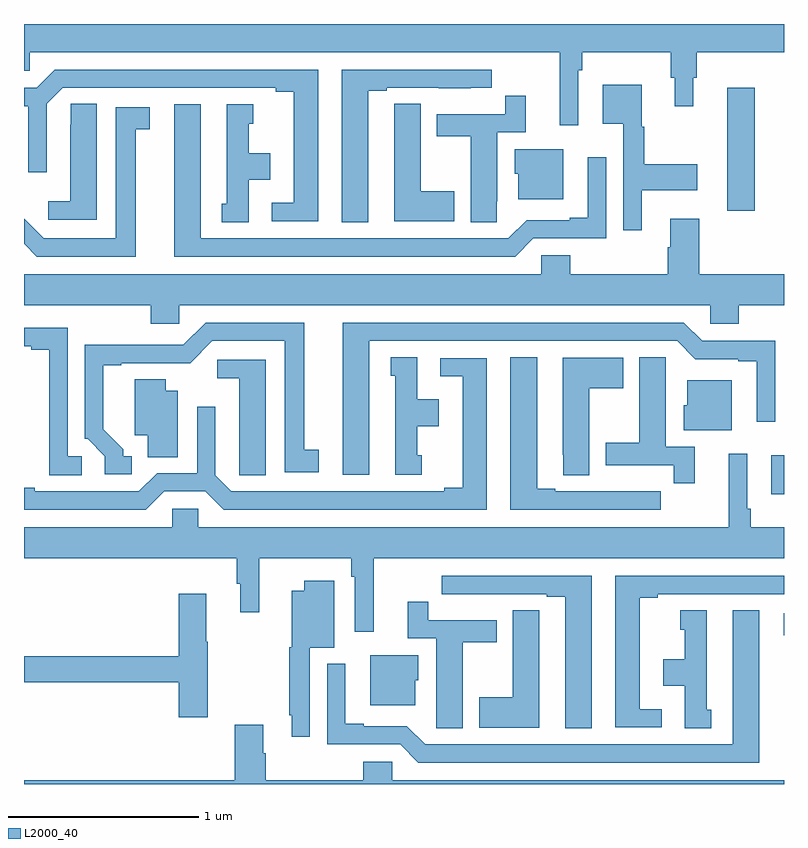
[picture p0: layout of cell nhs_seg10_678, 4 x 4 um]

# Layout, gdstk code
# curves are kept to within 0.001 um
import gdstk
lib = gdstk.Library(unit=1e-6, precision=1e-09)
def R(c, l, rs):  # rectangles x0, y0, x1, y1
    for r in rs: c.add(gdstk.rectangle(r[:2], r[2:], *l))
def P(c, l, *ps):  # polygons
    for p in ps: c.add(gdstk.Polygon(p, *l))
L2000_40 = (2000, 40)

nhs_seg10_678 = lib.new_cell('nhs_seg10_678')
R(nhs_seg10_678, L2000_40, [(148.998,1261.282,149,1261.398), (148.934,1262.024,149,1262.23), (148.7,1263.516,148.847,1264.165)])
P(nhs_seg10_678, L2000_40, [(148.405,1264.218),(148.424,1264.218),(148.424,1264.068),(148.522,1264.068),(148.522,1264.218),(148.541,1264.218),(148.541,1264.352),(149,1264.352),(149,1264.5),(145,1264.5),(145,1264.254),(145.029,1264.254),(145.029,1264.352),(147.821,1264.352),(147.821,1263.966),(147.918,1263.966),(147.918,1264.256),(147.938,1264.256),(147.938,1264.352),(148.405,1264.352)],
  [(146.812,1264.149),(146.908,1264.149),(146.908,1264.164),(147.184,1264.164),(147.184,1264.163),(147.35,1264.163),(147.35,1264.164),(147.463,1264.164),(147.463,1264.26),(146.672,1264.26),(146.672,1263.457),(146.812,1263.457)],
  [(146.548,1264.26),(145.163,1264.26),(145.067,1264.164),(145,1264.164),(145,1264.068),(145.023,1264.068),(145.023,1263.72),(145.119,1263.72),(145.119,1264.08),(145.203,1264.164),(146.324,1264.164),(146.324,1264.144),(146.42,1264.144),(146.42,1263.558),(146.304,1263.558),(146.304,1263.462),(146.548,1263.462)],
  [(148.252,1263.626),(148.543,1263.626),(148.543,1263.761),(148.264,1263.761),(148.264,1263.96),(148.252,1263.96),(148.252,1264.18),(148.046,1264.18),(148.046,1263.974),(148.155,1263.974),(148.155,1263.414),(148.252,1263.414)],
  [(147.489,1263.568),(147.49,1263.568),(147.49,1263.93),(147.641,1263.93),(147.641,1264.123),(147.532,1264.123),(147.532,1264.026),(147.173,1264.026),(147.173,1263.91),(147.35,1263.91),(147.35,1263.457),(147.489,1263.457)],
  [(145.384,1264.079),(145.245,1264.079),(145.245,1263.971),(145.244,1263.971),(145.244,1263.568),(145.128,1263.568),(145.128,1263.471),(145.384,1263.471)],
  [(147.265,1263.621),(147.088,1263.621),(147.088,1264.079),(146.949,1264.079),(146.949,1263.971),(146.948,1263.971),(146.948,1263.461),(147.265,1263.461)],
  [(146.182,1263.68),(146.296,1263.68),(146.296,1263.82),(146.182,1263.82),(146.182,1263.975),(146.206,1263.975),(146.206,1264.078),(146.066,1264.078),(146.066,1263.555),(146.042,1263.555),(146.042,1263.457),(146.182,1263.457)],
  [(147.681,1263.372),(148.065,1263.372),(148.065,1263.799),(147.968,1263.799),(147.968,1263.481),(147.872,1263.481),(147.872,1263.468),(147.645,1263.468),(147.549,1263.372),(145.93,1263.372),(145.93,1264.078),(145.79,1264.078),(145.79,1263.276),(147.585,1263.276)],
  [(145.588,1263.946),(145.663,1263.946),(145.663,1264.062),(145.484,1264.062),(145.484,1263.372),(145.104,1263.372),(145,1263.476),(145,1263.344),(145.068,1263.276),(145.588,1263.276)],
  [(147.838,1263.841),(147.584,1263.841),(147.584,1263.711),(147.602,1263.711),(147.602,1263.578),(147.838,1263.578)],
  [(145.818,1263.02),(148.611,1263.02),(148.611,1262.922),(148.763,1262.922),(148.763,1263.02),(149,1263.02),(149,1263.184),(148.553,1263.184),(148.553,1263.475),(148.4,1263.475),(148.4,1263.326),(148.388,1263.326),(148.388,1263.184),(147.875,1263.184),(147.875,1263.282),(147.723,1263.282),(147.723,1263.184),(145,1263.184),(145,1263.02),(145.667,1263.02),(145.667,1262.922),(145.818,1262.922)],
  [(146.818,1262.832),(148.437,1262.832),(148.533,1262.736),(148.76,1262.736),(148.76,1262.724),(148.856,1262.724),(148.856,1262.406),(148.953,1262.406),(148.953,1262.832),(148.569,1262.832),(148.473,1262.928),(146.678,1262.928),(146.678,1262.127),(146.818,1262.127)],
  [(145.567,1262.226),(145.522,1262.226),(145.522,1262.261),(145.417,1262.366),(145.417,1262.703),(145.513,1262.703),(145.513,1262.715),(145.874,1262.714),(145.992,1262.832),(146.372,1262.832),(146.372,1262.142),(146.551,1262.142),(146.551,1262.258),(146.476,1262.258),(146.476,1262.928),(145.956,1262.928),(145.839,1262.811),(145.583,1262.811),(145.583,1262.813),(145.32,1262.813),(145.32,1262.316),(145.335,1262.316),(145.425,1262.226),(145.425,1262.13),(145.567,1262.13)],
  [(145.303,1262.226),(145.23,1262.226),(145.23,1262.901),(145,1262.901),(145,1262.805),(145.037,1262.805),(145.037,1262.785),(145.133,1262.785),(145.133,1262.125),(145.303,1262.125)],
  [(147.094,1262.229),(147.07,1262.229),(147.07,1262.384),(147.184,1262.384),(147.184,1262.524),(147.07,1262.524),(147.07,1262.747),(146.93,1262.747),(146.93,1262.649),(146.954,1262.649),(146.954,1262.127),(147.094,1262.127)],
  [(148.351,1262.04),(148.238,1262.04),(148.238,1262.041),(148.072,1262.041),(148.072,1262.04),(147.796,1262.04),(147.796,1262.055),(147.7,1262.055),(147.7,1262.747),(147.56,1262.747),(147.56,1261.944),(148.351,1261.944)],
  [(148.529,1262.274),(148.378,1262.274),(148.378,1262.636),(148.377,1262.636),(148.377,1262.747),(148.238,1262.747),(148.238,1262.295),(148.061,1262.295),(148.061,1262.178),(148.42,1262.178),(148.42,1262.082),(148.529,1262.082)],
  [(147.976,1262.584),(148.153,1262.584),(148.153,1262.743),(147.836,1262.743),(147.836,1262.233),(147.837,1262.233),(147.837,1262.125),(147.976,1262.125)],
  [(145.737,1262.04),(145.955,1262.04),(146.051,1261.944),(147.436,1261.944),(147.436,1262.742),(147.192,1262.742),(147.192,1262.646),(147.308,1262.646),(147.308,1262.06),(147.212,1262.06),(147.212,1262.04),(146.091,1262.04),(146.007,1262.124),(146.007,1262.485),(145.911,1262.485),(145.911,1262.136),(145.701,1262.136),(145.605,1262.04),(145.057,1262.04),(145.057,1262.06),(145,1262.06),(145,1261.944),(145.641,1261.944)],
  [(146.272,1262.733),(146.016,1262.733),(146.016,1262.636),(146.132,1262.636),(146.132,1262.233),(146.133,1262.233),(146.133,1262.125),(146.272,1262.125)],
  [(145.81,1262.569),(145.747,1262.569),(145.747,1262.63),(145.583,1262.63),(145.583,1262.336),(145.652,1262.336),(145.652,1262.221),(145.81,1262.221)],
  [(148.726,1262.626),(148.49,1262.626),(148.49,1262.493),(148.472,1262.493),(148.472,1262.363),(148.726,1262.363)],
  [(146.84,1261.688),(149,1261.688),(149,1261.852),(148.826,1261.852),(148.826,1261.948),(148.806,1261.948),(148.806,1262.239),(148.709,1262.239),(148.709,1261.852),(145.917,1261.852),(145.917,1261.95),(145.779,1261.95),(145.779,1261.852),(145,1261.852),(145,1261.688),(146.119,1261.688),(146.119,1261.554),(146.138,1261.554),(146.138,1261.404),(146.238,1261.404),(146.238,1261.688),(146.722,1261.688),(146.722,1261.592),(146.742,1261.592),(146.742,1261.302),(146.84,1261.302)],
  [(148.357,1260.894),(148.24,1260.894),(148.24,1261.48),(148.336,1261.48),(148.336,1261.5),(149,1261.5),(149,1261.596),(148.112,1261.596),(148.112,1260.798),(148.357,1260.798)],
  [(147.988,1261.596),(147.198,1261.596),(147.198,1261.5),(147.31,1261.5),(147.31,1261.499),(147.476,1261.499),(147.476,1261.5),(147.752,1261.5),(147.752,1261.485),(147.848,1261.485),(147.848,1260.793),(147.988,1260.793)],
  [(146.505,1261.217),(146.632,1261.217),(146.632,1261.57),(146.474,1261.57),(146.474,1261.516),(146.408,1261.516),(146.408,1261.221),(146.397,1261.221),(146.397,1260.862),(146.408,1260.862),(146.408,1260.75),(146.505,1260.75)],
  [(145.968,1261.249),(145.96,1261.249),(145.96,1261.501),(145.814,1261.501),(145.814,1261.172),(145,1261.172),(145,1261.036),(145.814,1261.036),(145.814,1260.852),(145.968,1260.852)],
  [(147.31,1261.246),(147.487,1261.246),(147.487,1261.362),(147.128,1261.362),(147.128,1261.459),(147.02,1261.459),(147.02,1261.266),(147.17,1261.266),(147.17,1260.904),(147.171,1260.904),(147.171,1260.793),(147.31,1260.793)],
  [(147.712,1261.307),(147.711,1261.307),(147.711,1261.415),(147.572,1261.415),(147.572,1260.957),(147.395,1260.957),(147.395,1260.797),(147.712,1260.797)],
  [(148.87,1261.414),(148.73,1261.414),(148.73,1260.708),(147.111,1260.708),(147.015,1260.804),(146.788,1260.804),(146.788,1260.817),(146.692,1260.817),(146.692,1261.132),(146.595,1261.132),(146.595,1260.708),(146.979,1260.708),(147.075,1260.612),(148.87,1260.612)],
  [(148.618,1260.891),(148.594,1260.891),(148.594,1261.414),(148.454,1261.414),(148.454,1261.311),(148.478,1261.311),(148.478,1261.156),(148.364,1261.156),(148.364,1261.016),(148.478,1261.016),(148.478,1260.793),(148.618,1260.793)],
  [(147.058,1261.047),(147.076,1261.047),(147.076,1261.177),(146.822,1261.177),(146.822,1260.914),(147.058,1260.914)],
  [(149,1260.52),(146.937,1260.52),(146.937,1260.618),(146.786,1260.618),(146.786,1260.52),(146.273,1260.52),(146.273,1260.662),(146.26,1260.662),(146.26,1260.811),(146.108,1260.811),(146.108,1260.52),(145,1260.52),(145,1260.5),(149,1260.5)])

lib.write_gds('nhs_seg10_678.gds')
